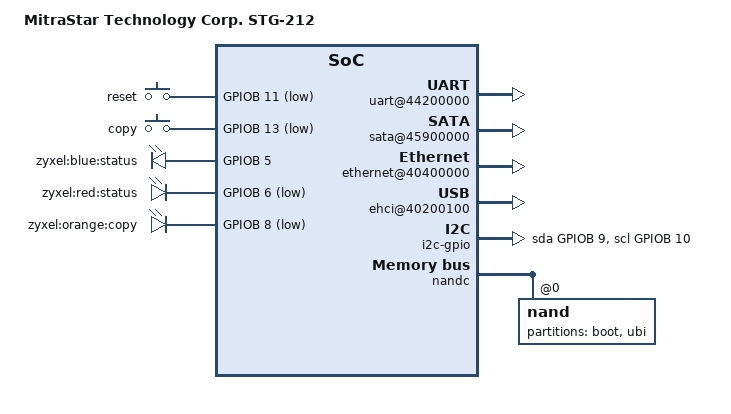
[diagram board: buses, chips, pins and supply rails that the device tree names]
/*
 * Copyright (C) 2013 OpenWrt.org
 *
 * This program is free software; you can redistribute it and/or modify
 * it under the terms of the GNU General Public License version 2 as
 * published by the Free Software Foundation.
 */

/dts-v1/;

#include "ox820.dtsi"

#include <dt-bindings/input/input.h>

/ {
	model = "MitraStar Technology Corp. STG-212";

	chosen {
		bootargs = "console=ttyS0,115200n8 earlyprintk=serial mem=128M";
	};

	uart@44200000 {
		status = "okay";
	};

	sata@45900000 {
		status = "okay";
	};


	ethernet@40400000 {
		status = "okay";
	};

	ehci@40200100 {
		status = "okay";
	};

	gpio-keys-polled {
		compatible = "gpio-keys-polled";
		#address-cells = <1>;
		#size-cells = <0>;
		poll-interval = <100>;

		reset {
			label = "reset";
			gpios = <&GPIOB 11 1>;
			linux,code = <KEY_RESTART>;
		};
		copy {
			label = "copy";
			gpios = <&GPIOB 13 1>;
			linux,code = <KEY_COPY>;
		};
	};

	gpio-leds {
		compatible = "gpio-leds";
		status {
			label = "zyxel:blue:status";
			gpios = <&GPIOB 5 0>;
		};
		status2 {
			label = "zyxel:red:status";
			gpios = <&GPIOB 6 1>;
		};
		copy {
			label = "zyxel:orange:copy";
			gpios = <&GPIOB 8 1>;
		};
	};

	i2c-gpio {
		compatible = "i2c-gpio";
		gpios = <&GPIOB 9 0 &GPIOB 10 0>;
		i2c-gpio,delay-us = <10>;
	};

};

&nandc {
	status = "okay";

	nand@0 {
		reg = <0>;
		#address-cells = <1>;
		#size-cells = <1>;
		nand-ecc-mode = "soft";
		nand-ecc-algo = "hamming";

		partition@0 {
			label = "boot";
			reg = <0x00000000 0x00e00000>;
			read-only;
		};

		partition@e00000 {
			label = "ubi";
			reg = <0x00e00000 0x07200000>;
		};
	};
};
